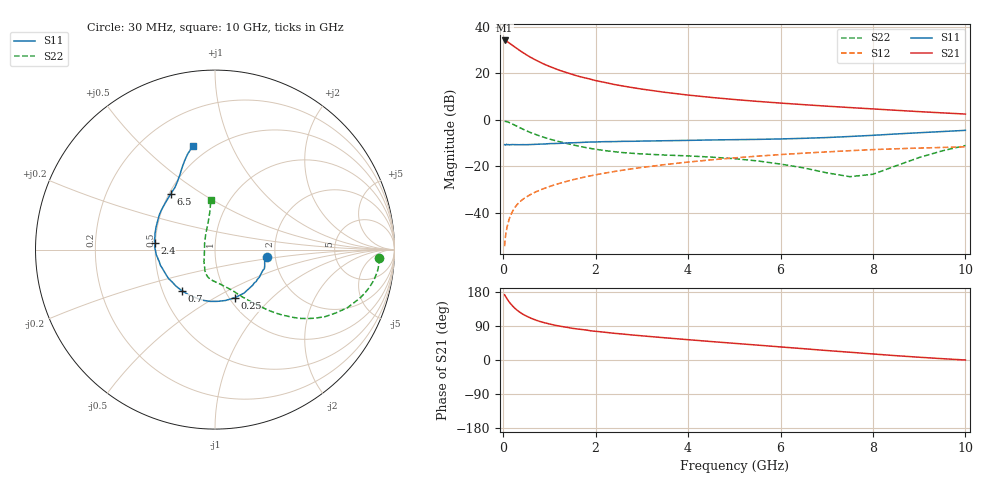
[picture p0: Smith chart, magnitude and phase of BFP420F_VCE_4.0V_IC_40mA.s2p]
! Infineon Technologies  Discrete & RF Semiconductors
! BFP420F
! VCE =  4.0 V,  IC =  40 mA
! Common Emitter S-Parameters:  Sep 2011
# GHz  S  MA  R  50
!  f  S11  S21  S12  S22
! GHz  MAG  ANG  MAG  ANG  MAG  ANG  MAG  ANG
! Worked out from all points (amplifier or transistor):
!   54 points, 30 MHz to 10 GHz, reference 50 ohm
!   highest |S21| = 34.1 dB at 30 MHz (marker M1)
!   |S21| within 3 dB of that: start of sweep to 262.7 MHz
!   unconditionally stable (mu >= 1): 1.419 GHz to end of sweep
!   at 120 MHz: K = 0.45, MSG = 38.2 dB, |S12| = -43.3 dB
!   at 1.3 GHz: K = 0.98, MSG = 23.8 dB, |S12| = -26.9 dB
!   at 10 GHz: K = 1.21, MAG = 4.3 dB, |S12| = -11.7 dB
!   S11 on the Smith chart (normalised r, x): 30 MHz: 1.80, -0.15; 250 MHz: 1.06, -0.62; 700 MHz: 0.63, -0.31; 2.4 GHz: 0.50, +0.04; 6.5 GHz: 0.51, +0.38; 10 GHz: 0.41, +0.72
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0.03  0.2897 -7.7  50.47 172.2  0.0019 77.5  0.9153 -2.9
0.07  0.2951 -21.2  48.56 164.1  0.004 79.2  0.9087 -8.8
0.08  0.2913 -22.9  47.68 162.0  0.0048 78.0  0.9033 -10.3
0.12  0.2884 -35.3  45.28 154.5  0.0068 77.3  0.8749 -15.3
0.15  0.2889 -43.4  43.03 149.8  0.0083 75.7  0.8496 -18.7
0.2  0.2914 -56.2  39.66 143.0  0.0106 74.4  0.8057 -23.7
0.25  0.2899 -67.7  36.43 136.7  0.0128 72.8  0.7599 -27.7
0.35  0.2887 -87.4  31.11 126.9  0.0167 70.5  0.6776 -34.3
0.45  0.2899 -102.6  26.76 119.1  0.0202 69.0  0.6089 -39.0
0.6  0.2916 -120.4  21.68 110.3  0.0248 68.0  0.5233 -44.2
0.7  0.2944 -129.2  19.22 105.5  0.0278 67.8  0.4807 -46.8
0.9  0.2991 -142.8  15.37 98.1  0.0335 67.6  0.411 -51.0
1.1  0.3064 -152.9  12.78 92.3  0.0393 67.5  0.3592 -54.8
1.3  0.3114 -160.6  10.82 87.8  0.045 67.2  0.3204 -58.2
1.7  0.3235 -172.3  8.221 80.5  0.0565 66.4  0.2604 -64.9
2.4  0.3371 174.1  5.71 70.5  0.0766 63.8  0.2047 -77.7
3.5  0.3518 158.8  3.87 58.6  0.108 58.6  0.1733 -94.2
5.5  0.3761 139.3  2.471 39.3  0.164 46.4  0.1296 -115.6
6.5  0.3964 128.5  2.101 29.8  0.19 39.7  0.0917 -132.3
7  0.412 122.8  1.95 25.0  0.2024 36.3  0.0718 -146.3
8.5  0.492 111.9  1.589 11.4  0.2363 25.6  0.1017 120.4
10  0.5883 102.2  1.319 0.0  0.26 16.1  0.2777 94.7
